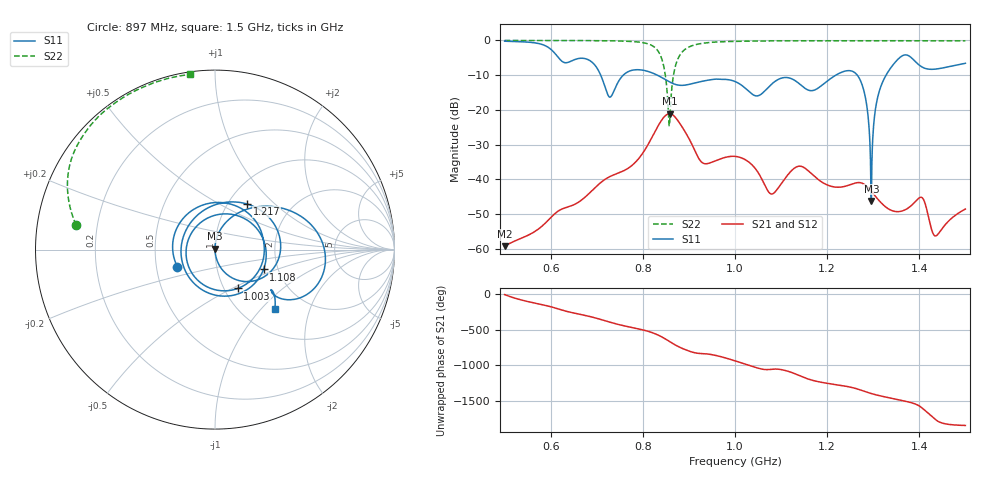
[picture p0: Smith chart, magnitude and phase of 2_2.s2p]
! TOUCHSTONE file generated by CST MICROWAVE STUDIO
! Date and time: Mon Nov 30 09:05:41 2020
! Project name: Scenario_1_Planar_Body_Tissue_Out_of_Line_v2.cst
! Parameters = {dy1=-328.7; L_HA=400; Ltissue=700; MT=2.54; Rad_Dielectric=30; Rad_Lower=7.3; Rad_Upper=30; Wtissue=700; a_HA=580; a_WG=246; b_HA=500; b_WG=121; c_HA=0; c_WG=187; d_feed=85; dx1=346; h_feed=15; h_lower=18; h_upper=40; hfat=3; hgap=25; hmuscle=50; hskin=1.5}
! Header version: 2018
! Port assignment regex: !\s*Touchstone port\s*([0-9]+)\s*=\s*(CST MWS port|CST DS port)\s*([0-9]+|Zmin|Zmax)\s*\(\"(.*)\"\)(\s*mode\s*([0-9]+))?.*
! Touchstone port assignment:
! Touchstone port 1 = CST MWS port 1 ("")
! Touchstone port 2 = CST MWS port 2 ("")
# GHz S DB R 50
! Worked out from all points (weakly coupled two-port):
!   1003 points, 500 MHz to 1.5 GHz, reference 50 ohm
!   highest |S21| = -21.11 dB at 858 MHz (marker M1); lowest = -59.3 dB at 500 MHz (marker M2)
!   lowest |S11| = -46.3 dB at 1.296 GHz (marker M3), VSWR 1.01, Z = 50 + j0.485 ohm
!   |S11| at or under -10 dB: 708.5 MHz to 757.6 MHz (49.07 MHz wide, 6.69 % of centre); 831.2 MHz to 1.219 GHz (387.7 MHz wide, 37.8 % of centre); 1.265 GHz to 1.328 GHz (62.51 MHz wide, 4.82 % of centre)
!   |S22| runs from -24.6 to 0.0 dB; largest |S21 - S12| = 4.1e-06
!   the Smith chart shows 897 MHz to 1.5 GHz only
!   S11 on the Smith chart (normalised r, x): 897 MHz: 0.64, -0.13; 1.003 GHz: 1.16, -0.53; 1.108 GHz: 1.68, -0.41; 1.217 GHz: 1.22, +0.69; 1.5 GHz: 1.41, -1.19
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0.5  -0.22 -121.7  -59.29 -6.8  -59.29 -6.8  -0.01 151.2
0.577  -0.99 -164.2  -53.98 -142.8  -53.98 -142.8  -0.02 145.9
0.667  -5.13 152.1  -45.99 71.0  -45.99 71.0  -0.04 138.4
0.728  -16.34 -33.6  -39.27 -33.1  -39.27 -33.1  -0.11 131.2
0.773  -8.74 166.6  -36.38 -104.8  -36.38 -104.8  -0.28 122.4
0.834  -10.19 41.0  -24.44 142.5  -24.44 142.5  -3.27 82.8
0.858  -11.96 -24.5  -21.11 54.2  -21.11 54.2  -24.06 -73.4
0.897  -12.76 -155.8  -27.53 -71.8  -27.53 -71.8  -2.10 170.0
0.938  -11.53 80.9  -35.54 -118.7  -35.54 -118.7  -0.68 152.1
1  -11.84 -52.9  -33.42 143.5  -33.42 143.5  -0.27 140.2
1.003  -12.02 -59.7  -33.46 137.3  -33.46 137.3  -0.26 139.8
1.069  -13.95 80.5  -42.84 20.3  -42.84 20.3  -0.15 132.6
1.108  -10.69 -22.3  -39.86 9.6  -39.86 9.6  -0.11 129.0
1.167  -14.47 167.5  -38.54 -127.5  -38.54 -127.5  -0.10 124.2
1.217  -10.15 54.8  -42.25 171.7  -42.25 171.7  -0.09 120.4
1.271  -11.22 -39.6  -40.98 97.7  -40.98 97.7  -0.08 116.3
1.296  -46.29 88.5  -43.49 44.2  -43.49 44.2  -0.08 114.4
1.309  -16.76 70.7  -45.60 21.7  -45.60 21.7  -0.08 113.4
1.334  -8.68 41.0  -48.62 -14.4  -48.62 -14.4  -0.09 111.5
1.405  -7.59 -37.6  -45.24 -152.1  -45.24 -152.1  -0.10 106.0
1.436  -8.25 -35.4  -56.33 34.7  -56.33 34.7  -0.10 103.5
1.5  -6.58 -44.7  -48.59 -42.7  -48.59 -42.7  -0.13 98.0
